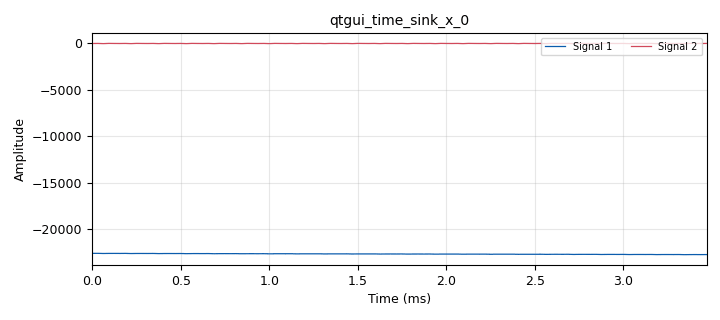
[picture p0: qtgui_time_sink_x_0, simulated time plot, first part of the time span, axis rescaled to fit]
options:
  parameters:
    generate_options: qt_gui
    id: COmandoPython
    output_language: python
    title: Not titled yet
  states: {}

blocks:
- name: samp_rate
  id: variable
  parameters:
    value: '32000'
  states: {}
- name: blocks_throttle_0
  id: blocks_throttle
  parameters:
    samples_per_second: samp_rate
    type: float
  states: {}
- name: blocks_vector_source_x_0
  id: blocks_vector_source_x
  parameters:
    repeat: 'True'
    type: float
    vector: (1, -3, 4, -16, 8)
  states: {}
- name: e_Diff
  id: epy_block
  parameters:
    _source_code: "\"\"\"\nEmbedded Python Blocks:\n\nEach time this file is saved, GRC will instantiate the first class it finds\nto get ports and parameters of your block. The arguments to __init__  will\nbe the parameters. All of them are required to have default values!\n\"\"\"\n\nimport numpy as np\nfrom gnuradio import gr\n\nclass blk(gr.sync_block):\n    def __init__(self):\n        gr.sync_block.__init__(\n            self,\n            name='e_Diff',  # Asegúrate de que esto esté encerrado en comillas dobles\n            in_sig=[np.float32],\n            out_sig=[np.float32]\n        )\n        self.acum_anterior = 0\n\n    def work(self, input_items, output_items):\n        x = input_items[0]  # Señal de entrada\n        y0 = output_items[0]  # Señal acumulada diferencial\n        N = len(x)\n        diff = np.cumsum(x) - self.acum_anterior\n        self.acum_anterior = diff[N - 1]\n        y0[:] = diff\n        return len(y0)\n\n"
  states: {}
- name: qtgui_time_sink_x_0
  id: qtgui_time_sink_x
  parameters:
    nconnections: '2'
    size: '1024'
    srate: samp_rate
    type: float
  states: {}

connections:
- [blocks_throttle_0, '0', e_Diff, '0']
- [blocks_throttle_0, '0', qtgui_time_sink_x_0, '1']
- [blocks_vector_source_x_0, '0', blocks_throttle_0, '0']
- [e_Diff, '0', qtgui_time_sink_x_0, '0']

metadata:
  file_format: 1
  grc_version: 3.10.5.1
